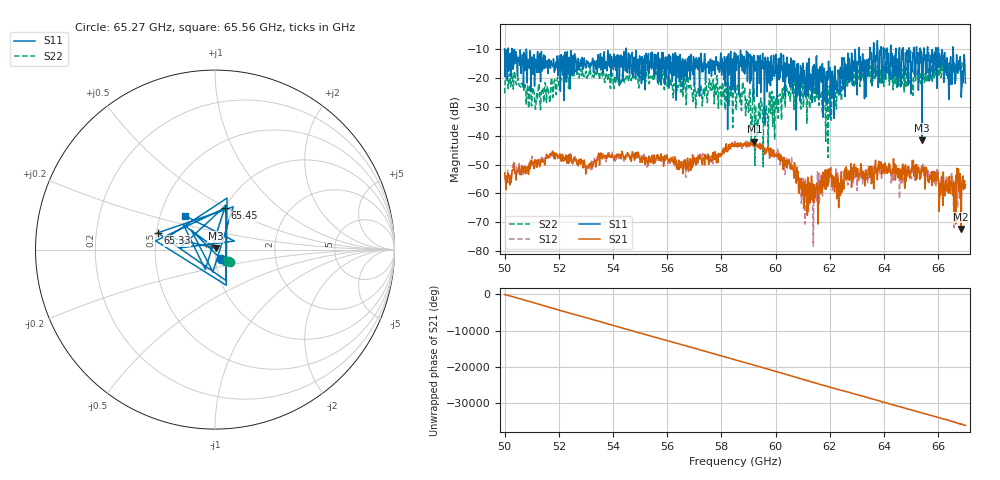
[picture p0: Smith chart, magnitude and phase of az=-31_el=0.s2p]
!Created with skrf (http://scikit-rf.org).
# GHz S RI R 50.0
!freq ReS11 ImS11 ReS21 ImS21 ReS12 ImS12 ReS22 ImS22
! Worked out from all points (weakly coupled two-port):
!   1001 points, 50 GHz to 67 GHz, reference 50 ohm
!   highest |S21| = -42.00 dB at 59.21 GHz (marker M1); lowest = -72.3 dB at 66.85 GHz (marker M2)
!   lowest |S11| = -41.6 dB at 65.4 GHz (marker M3), VSWR 1.02, Z = 50.4 + j0.735 ohm
!   |S11| at or under -10 dB: 50.8 GHz to 54.49 GHz (3.686 GHz wide, 7 % of centre); 54.49 GHz to 63.07 GHz (8.581 GHz wide, 14.6 % of centre); 66 GHz to 66.54 GHz (534.2 MHz wide, 0.806 % of centre) (the widest 3 of 26)
!   |S22| runs from -50.7 to -14.0 dB; largest |S21 - S12| = 0.0021
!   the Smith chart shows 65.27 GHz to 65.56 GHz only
!   S11 on the Smith chart (normalised r, x): 65.27 GHz: 1.06, -0.11; 65.33 GHz: 0.51, +0.11; 65.45 GHz: 0.99, +0.48; 65.56 GHz: 0.67, +0.27
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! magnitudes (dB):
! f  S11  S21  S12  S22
! 50 GHz  -9.8  -52.8  -54.2  -25.3
! 51.07 GHz  -11.8  -49.5  -50.8  -24.2
! 52.84 GHz  -13.4  -49.2  -49.1  -19.0
! 55.68 GHz  -13.6  -48.5  -48.1  -22.5
! 56.77 GHz  -17.3  -51.1  -49.8  -19.8
! 58.5 GHz  -24.7  -43.3  -42.0  -24.0
! 59.21 GHz  -12.5  -42.0  -43.9  -27.0
! 59.61 GHz  -13.1  -46.4  -45.4  -34.9
! 60.62 GHz  -25.3  -51.5  -50.5  -22.8
! 61.34 GHz  -28.4  -57.6  -57.6  -25.6
! 61.98 GHz  -18.0  -54.2  -55.2  -22.8
! 62.33 GHz  -19.0  -64.9  -62.5  -26.2
! 62.6 GHz  -18.4  -50.8  -55.3  -18.9
! 64.18 GHz  -19.1  -50.3  -52.0  -19.0
! 65.27 GHz  -24.2  -50.9  -51.5  -19.1
! 65.33 GHz  -9.6  -54.5  -51.5  -19.1
! 65.4 GHz  -41.6  -51.9  -50.9  -19.8
! 65.45 GHz  -12.5  -52.8  -53.5  -18.1
! 65.56 GHz  -12.0  -51.0  -51.5  -21.0
! 66.63 GHz  -21.2  -58.9  -59.4  -16.2
! 66.85 GHz  -26.6  -72.3  -56.0  -19.0
! 67 GHz  -21.7  -56.9  -58.4  -15.5
